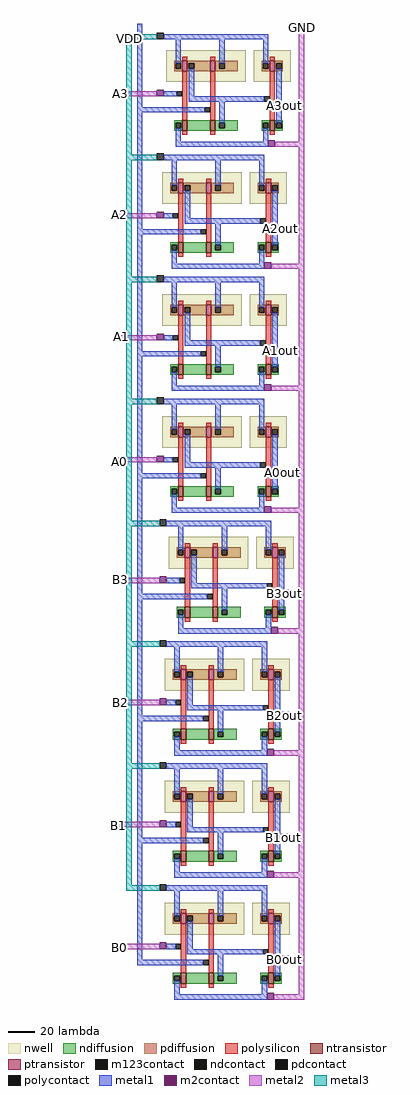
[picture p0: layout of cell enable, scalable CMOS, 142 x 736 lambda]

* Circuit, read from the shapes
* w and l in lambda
.subckt enable A0 A0out A1 A1out A2 A2out A3 A3out B0 B0out B1 B1out B2 B2out B3 B3out E GND VDD
M1 n1 A0 GND VSUBS nfet w=8 l=4
M2 n2 A1 GND VSUBS nfet w=8 l=4
M3 n3 A2 GND VSUBS nfet w=8 l=4
M4 n4 B0 GND VSUBS nfet w=8 l=4
M5 n5 B1 GND VSUBS nfet w=8 l=4
M6 n6 B2 GND VSUBS nfet w=8 l=4
M7 n7 A3 GND VSUBS nfet w=8 l=4
M8 n8 B3 GND VSUBS nfet w=8 l=4
M9 n9 E n1 VSUBS nfet w=8 l=4
M10 n10 E n2 VSUBS nfet w=8 l=4
M11 n11 E n3 VSUBS nfet w=8 l=4
M12 n12 E n4 VSUBS nfet w=8 l=4
M13 n13 E n5 VSUBS nfet w=8 l=4
M14 n14 E n6 VSUBS nfet w=8 l=4
M15 n15 E n7 VSUBS nfet w=8 l=4
M16 n16 E n8 VSUBS nfet w=8 l=4
M17 A0out n9 GND VSUBS nfet w=8 l=4
M18 A1out n10 GND VSUBS nfet w=8 l=4
M19 A2out n11 GND VSUBS nfet w=8 l=4
M20 B0out n12 GND VSUBS nfet w=8 l=4
M21 B1out n13 GND VSUBS nfet w=8 l=4
M22 B2out n14 GND VSUBS nfet w=8 l=4
M23 A3out n15 GND VSUBS nfet w=8 l=4
M24 B3out n16 GND VSUBS nfet w=8 l=4
M25 n9 A0 VDD n17 pfet w=8 l=4
M26 n10 A1 VDD n18 pfet w=8 l=4
M27 n11 A2 VDD n19 pfet w=8 l=4
M28 n12 B0 VDD n20 pfet w=8 l=4
M29 n13 B1 VDD n21 pfet w=8 l=4
M30 n14 B2 VDD n22 pfet w=8 l=4
M31 n15 A3 VDD n23 pfet w=8 l=4
M32 n16 B3 VDD n24 pfet w=8 l=4
M33 VDD E n9 n17 pfet w=8 l=4
M34 VDD E n10 n18 pfet w=8 l=4
M35 VDD E n11 n19 pfet w=8 l=4
M36 VDD E n12 n20 pfet w=8 l=4
M37 VDD E n13 n21 pfet w=8 l=4
M38 VDD E n14 n22 pfet w=8 l=4
M39 VDD E n15 n23 pfet w=8 l=4
M40 VDD E n16 n24 pfet w=8 l=4
M41 A0out n9 VDD n25 pfet w=8 l=4
M42 A1out n10 VDD n26 pfet w=8 l=4
M43 A2out n11 VDD n27 pfet w=8 l=4
M44 B0out n12 VDD n28 pfet w=8 l=4
M45 B1out n13 VDD n29 pfet w=8 l=4
M46 B2out n14 VDD n30 pfet w=8 l=4
M47 A3out n15 VDD n31 pfet w=8 l=4
M48 B3out n16 VDD n32 pfet w=8 l=4
.ends

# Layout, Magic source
magic
tech scmos
<< nwell >>
rect 148 782 208 806
rect 214 782 242 806
rect 145 690 205 714
rect 211 690 239 714
rect 145 598 205 622
rect 211 598 239 622
rect 145 506 205 530
rect 211 506 239 530
rect 150 415 210 439
rect 216 415 244 439
rect 147 323 207 347
rect 213 323 241 347
rect 147 231 207 255
rect 213 231 241 255
rect 147 139 207 163
rect 213 139 241 163
<< ntransistor >>
rect 160 745 164 753
rect 181 745 185 753
rect 226 745 230 753
rect 157 653 161 661
rect 178 653 182 661
rect 223 653 227 661
rect 157 561 161 569
rect 178 561 182 569
rect 223 561 227 569
rect 157 469 161 477
rect 178 469 182 477
rect 223 469 227 477
rect 162 378 166 386
rect 183 378 187 386
rect 228 378 232 386
rect 159 286 163 294
rect 180 286 184 294
rect 225 286 229 294
rect 159 194 163 202
rect 180 194 184 202
rect 225 194 229 202
rect 159 102 163 110
rect 180 102 184 110
rect 225 102 229 110
<< ptransistor >>
rect 160 790 164 798
rect 181 790 185 798
rect 226 790 230 798
rect 157 698 161 706
rect 178 698 182 706
rect 223 698 227 706
rect 157 606 161 614
rect 178 606 182 614
rect 223 606 227 614
rect 157 514 161 522
rect 178 514 182 522
rect 223 514 227 522
rect 162 423 166 431
rect 183 423 187 431
rect 228 423 232 431
rect 159 331 163 339
rect 180 331 184 339
rect 225 331 229 339
rect 159 239 163 247
rect 180 239 184 247
rect 225 239 229 247
rect 159 147 163 155
rect 180 147 184 155
rect 225 147 229 155
<< ndiffusion >>
rect 154 751 160 753
rect 154 747 155 751
rect 159 747 160 751
rect 154 745 160 747
rect 164 745 181 753
rect 185 751 202 753
rect 185 747 188 751
rect 192 747 202 751
rect 185 745 202 747
rect 220 751 226 753
rect 220 747 221 751
rect 225 747 226 751
rect 220 745 226 747
rect 230 751 236 753
rect 230 747 231 751
rect 235 747 236 751
rect 230 745 236 747
rect 151 659 157 661
rect 151 655 152 659
rect 156 655 157 659
rect 151 653 157 655
rect 161 653 178 661
rect 182 659 199 661
rect 182 655 185 659
rect 189 655 199 659
rect 182 653 199 655
rect 217 659 223 661
rect 217 655 218 659
rect 222 655 223 659
rect 217 653 223 655
rect 227 659 233 661
rect 227 655 228 659
rect 232 655 233 659
rect 227 653 233 655
rect 151 567 157 569
rect 151 563 152 567
rect 156 563 157 567
rect 151 561 157 563
rect 161 561 178 569
rect 182 567 199 569
rect 182 563 185 567
rect 189 563 199 567
rect 182 561 199 563
rect 217 567 223 569
rect 217 563 218 567
rect 222 563 223 567
rect 217 561 223 563
rect 227 567 233 569
rect 227 563 228 567
rect 232 563 233 567
rect 227 561 233 563
rect 151 475 157 477
rect 151 471 152 475
rect 156 471 157 475
rect 151 469 157 471
rect 161 469 178 477
rect 182 475 199 477
rect 182 471 185 475
rect 189 471 199 475
rect 182 469 199 471
rect 217 475 223 477
rect 217 471 218 475
rect 222 471 223 475
rect 217 469 223 471
rect 227 475 233 477
rect 227 471 228 475
rect 232 471 233 475
rect 227 469 233 471
rect 156 384 162 386
rect 156 380 157 384
rect 161 380 162 384
rect 156 378 162 380
rect 166 378 183 386
rect 187 384 204 386
rect 187 380 190 384
rect 194 380 204 384
rect 187 378 204 380
rect 222 384 228 386
rect 222 380 223 384
rect 227 380 228 384
rect 222 378 228 380
rect 232 384 238 386
rect 232 380 233 384
rect 237 380 238 384
rect 232 378 238 380
rect 153 292 159 294
rect 153 288 154 292
rect 158 288 159 292
rect 153 286 159 288
rect 163 286 180 294
rect 184 292 201 294
rect 184 288 187 292
rect 191 288 201 292
rect 184 286 201 288
rect 219 292 225 294
rect 219 288 220 292
rect 224 288 225 292
rect 219 286 225 288
rect 229 292 235 294
rect 229 288 230 292
rect 234 288 235 292
rect 229 286 235 288
rect 153 200 159 202
rect 153 196 154 200
rect 158 196 159 200
rect 153 194 159 196
rect 163 194 180 202
rect 184 200 201 202
rect 184 196 187 200
rect 191 196 201 200
rect 184 194 201 196
rect 219 200 225 202
rect 219 196 220 200
rect 224 196 225 200
rect 219 194 225 196
rect 229 200 235 202
rect 229 196 230 200
rect 234 196 235 200
rect 229 194 235 196
rect 153 108 159 110
rect 153 104 154 108
rect 158 104 159 108
rect 153 102 159 104
rect 163 102 180 110
rect 184 108 201 110
rect 184 104 187 108
rect 191 104 201 108
rect 184 102 201 104
rect 219 108 225 110
rect 219 104 220 108
rect 224 104 225 108
rect 219 102 225 104
rect 229 108 235 110
rect 229 104 230 108
rect 234 104 235 108
rect 229 102 235 104
<< pdiffusion >>
rect 154 796 160 798
rect 154 792 155 796
rect 159 792 160 796
rect 154 790 160 792
rect 164 796 181 798
rect 164 792 165 796
rect 169 792 181 796
rect 164 790 181 792
rect 185 796 202 798
rect 185 792 188 796
rect 192 792 202 796
rect 185 790 202 792
rect 220 796 226 798
rect 220 792 221 796
rect 225 792 226 796
rect 220 790 226 792
rect 230 796 236 798
rect 230 792 231 796
rect 235 792 236 796
rect 230 790 236 792
rect 151 704 157 706
rect 151 700 152 704
rect 156 700 157 704
rect 151 698 157 700
rect 161 704 178 706
rect 161 700 162 704
rect 166 700 178 704
rect 161 698 178 700
rect 182 704 199 706
rect 182 700 185 704
rect 189 700 199 704
rect 182 698 199 700
rect 217 704 223 706
rect 217 700 218 704
rect 222 700 223 704
rect 217 698 223 700
rect 227 704 233 706
rect 227 700 228 704
rect 232 700 233 704
rect 227 698 233 700
rect 151 612 157 614
rect 151 608 152 612
rect 156 608 157 612
rect 151 606 157 608
rect 161 612 178 614
rect 161 608 162 612
rect 166 608 178 612
rect 161 606 178 608
rect 182 612 199 614
rect 182 608 185 612
rect 189 608 199 612
rect 182 606 199 608
rect 217 612 223 614
rect 217 608 218 612
rect 222 608 223 612
rect 217 606 223 608
rect 227 612 233 614
rect 227 608 228 612
rect 232 608 233 612
rect 227 606 233 608
rect 151 520 157 522
rect 151 516 152 520
rect 156 516 157 520
rect 151 514 157 516
rect 161 520 178 522
rect 161 516 162 520
rect 166 516 178 520
rect 161 514 178 516
rect 182 520 199 522
rect 182 516 185 520
rect 189 516 199 520
rect 182 514 199 516
rect 217 520 223 522
rect 217 516 218 520
rect 222 516 223 520
rect 217 514 223 516
rect 227 520 233 522
rect 227 516 228 520
rect 232 516 233 520
rect 227 514 233 516
rect 156 429 162 431
rect 156 425 157 429
rect 161 425 162 429
rect 156 423 162 425
rect 166 429 183 431
rect 166 425 167 429
rect 171 425 183 429
rect 166 423 183 425
rect 187 429 204 431
rect 187 425 190 429
rect 194 425 204 429
rect 187 423 204 425
rect 222 429 228 431
rect 222 425 223 429
rect 227 425 228 429
rect 222 423 228 425
rect 232 429 238 431
rect 232 425 233 429
rect 237 425 238 429
rect 232 423 238 425
rect 153 337 159 339
rect 153 333 154 337
rect 158 333 159 337
rect 153 331 159 333
rect 163 337 180 339
rect 163 333 164 337
rect 168 333 180 337
rect 163 331 180 333
rect 184 337 201 339
rect 184 333 187 337
rect 191 333 201 337
rect 184 331 201 333
rect 219 337 225 339
rect 219 333 220 337
rect 224 333 225 337
rect 219 331 225 333
rect 229 337 235 339
rect 229 333 230 337
rect 234 333 235 337
rect 229 331 235 333
rect 153 245 159 247
rect 153 241 154 245
rect 158 241 159 245
rect 153 239 159 241
rect 163 245 180 247
rect 163 241 164 245
rect 168 241 180 245
rect 163 239 180 241
rect 184 245 201 247
rect 184 241 187 245
rect 191 241 201 245
rect 184 239 201 241
rect 219 245 225 247
rect 219 241 220 245
rect 224 241 225 245
rect 219 239 225 241
rect 229 245 235 247
rect 229 241 230 245
rect 234 241 235 245
rect 229 239 235 241
rect 153 153 159 155
rect 153 149 154 153
rect 158 149 159 153
rect 153 147 159 149
rect 163 153 180 155
rect 163 149 164 153
rect 168 149 180 153
rect 163 147 180 149
rect 184 153 201 155
rect 184 149 187 153
rect 191 149 201 153
rect 184 147 201 149
rect 219 153 225 155
rect 219 149 220 153
rect 224 149 225 153
rect 219 147 225 149
rect 229 153 235 155
rect 229 149 230 153
rect 234 149 235 153
rect 229 147 235 149
<< ndcontact >>
rect 155 747 159 751
rect 188 747 192 751
rect 221 747 225 751
rect 231 747 235 751
rect 152 655 156 659
rect 185 655 189 659
rect 218 655 222 659
rect 228 655 232 659
rect 152 563 156 567
rect 185 563 189 567
rect 218 563 222 567
rect 228 563 232 567
rect 152 471 156 475
rect 185 471 189 475
rect 218 471 222 475
rect 228 471 232 475
rect 157 380 161 384
rect 190 380 194 384
rect 223 380 227 384
rect 233 380 237 384
rect 154 288 158 292
rect 187 288 191 292
rect 220 288 224 292
rect 230 288 234 292
rect 154 196 158 200
rect 187 196 191 200
rect 220 196 224 200
rect 230 196 234 200
rect 154 104 158 108
rect 187 104 191 108
rect 220 104 224 108
rect 230 104 234 108
<< pdcontact >>
rect 155 792 159 796
rect 165 792 169 796
rect 188 792 192 796
rect 221 792 225 796
rect 231 792 235 796
rect 152 700 156 704
rect 162 700 166 704
rect 185 700 189 704
rect 218 700 222 704
rect 228 700 232 704
rect 152 608 156 612
rect 162 608 166 612
rect 185 608 189 612
rect 218 608 222 612
rect 228 608 232 612
rect 152 516 156 520
rect 162 516 166 520
rect 185 516 189 520
rect 218 516 222 520
rect 228 516 232 520
rect 157 425 161 429
rect 167 425 171 429
rect 190 425 194 429
rect 223 425 227 429
rect 233 425 237 429
rect 154 333 158 337
rect 164 333 168 337
rect 187 333 191 337
rect 220 333 224 337
rect 230 333 234 337
rect 154 241 158 245
rect 164 241 168 245
rect 187 241 191 245
rect 220 241 224 245
rect 230 241 234 245
rect 154 149 158 153
rect 164 149 168 153
rect 187 149 191 153
rect 220 149 224 153
rect 230 149 234 153
<< polysilicon >>
rect 160 798 164 801
rect 181 798 185 801
rect 226 798 230 801
rect 160 753 164 790
rect 181 753 185 790
rect 226 753 230 790
rect 160 742 164 745
rect 181 742 185 745
rect 226 742 230 745
rect 157 706 161 709
rect 178 706 182 709
rect 223 706 227 709
rect 157 661 161 698
rect 178 661 182 698
rect 223 661 227 698
rect 157 650 161 653
rect 178 650 182 653
rect 223 650 227 653
rect 157 614 161 617
rect 178 614 182 617
rect 223 614 227 617
rect 157 569 161 606
rect 178 569 182 606
rect 223 569 227 606
rect 157 558 161 561
rect 178 558 182 561
rect 223 558 227 561
rect 157 522 161 525
rect 178 522 182 525
rect 223 522 227 525
rect 157 477 161 514
rect 178 477 182 514
rect 223 477 227 514
rect 157 466 161 469
rect 178 466 182 469
rect 223 466 227 469
rect 162 431 166 434
rect 183 431 187 434
rect 228 431 232 434
rect 162 386 166 423
rect 183 386 187 423
rect 228 386 232 423
rect 162 375 166 378
rect 183 375 187 378
rect 228 375 232 378
rect 159 339 163 342
rect 180 339 184 342
rect 225 339 229 342
rect 159 294 163 331
rect 180 294 184 331
rect 225 294 229 331
rect 159 283 163 286
rect 180 283 184 286
rect 225 283 229 286
rect 159 247 163 250
rect 180 247 184 250
rect 225 247 229 250
rect 159 202 163 239
rect 180 202 184 239
rect 225 202 229 239
rect 159 191 163 194
rect 180 191 184 194
rect 225 191 229 194
rect 159 155 163 158
rect 180 155 184 158
rect 225 155 229 158
rect 159 110 163 147
rect 180 110 184 147
rect 225 110 229 147
rect 159 99 163 102
rect 180 99 184 102
rect 225 99 229 102
<< polycontact >>
rect 156 771 160 775
rect 177 759 181 763
rect 222 767 226 771
rect 153 679 157 683
rect 174 667 178 671
rect 219 675 223 679
rect 153 587 157 591
rect 174 575 178 579
rect 219 583 223 587
rect 153 495 157 499
rect 174 483 178 487
rect 219 491 223 495
rect 158 404 162 408
rect 179 392 183 396
rect 224 400 228 404
rect 155 312 159 316
rect 176 300 180 304
rect 221 308 225 312
rect 155 220 159 224
rect 176 208 180 212
rect 221 216 225 220
rect 155 128 159 132
rect 176 116 180 120
rect 221 124 225 128
<< metal1 >>
rect 126 763 130 826
rect 146 814 225 818
rect 155 796 159 814
rect 188 796 192 814
rect 221 796 225 814
rect 146 771 156 775
rect 165 771 169 792
rect 165 767 222 771
rect 126 759 177 763
rect 126 671 130 759
rect 188 751 192 767
rect 231 766 235 792
rect 231 762 242 766
rect 231 751 235 762
rect 155 737 159 747
rect 221 737 225 747
rect 155 733 225 737
rect 146 723 222 727
rect 152 704 156 723
rect 185 704 189 723
rect 218 704 222 723
rect 146 679 153 683
rect 162 679 166 700
rect 162 675 219 679
rect 126 667 174 671
rect 126 579 130 667
rect 185 659 189 675
rect 228 674 232 700
rect 228 670 239 674
rect 228 659 232 670
rect 152 645 156 655
rect 218 645 222 655
rect 152 641 222 645
rect 146 631 222 635
rect 152 612 156 631
rect 185 612 189 631
rect 218 612 222 631
rect 146 587 153 591
rect 162 587 166 608
rect 162 583 219 587
rect 126 575 174 579
rect 126 487 130 575
rect 185 567 189 583
rect 228 582 232 608
rect 228 578 239 582
rect 228 567 232 578
rect 152 553 156 563
rect 218 553 222 563
rect 152 549 222 553
rect 146 539 222 543
rect 152 520 156 539
rect 185 520 189 539
rect 218 520 222 539
rect 146 495 153 499
rect 162 495 166 516
rect 162 491 219 495
rect 126 483 174 487
rect 126 396 130 483
rect 185 475 189 491
rect 228 490 232 516
rect 228 486 239 490
rect 228 475 232 486
rect 152 461 156 471
rect 218 461 222 471
rect 152 457 222 461
rect 148 447 227 451
rect 157 429 161 447
rect 190 429 194 447
rect 223 429 227 447
rect 148 404 158 408
rect 167 404 171 425
rect 167 400 224 404
rect 126 392 179 396
rect 126 304 130 392
rect 190 384 194 400
rect 233 399 237 425
rect 233 395 241 399
rect 233 384 237 395
rect 157 370 161 380
rect 223 370 227 380
rect 157 366 227 370
rect 148 356 224 360
rect 154 337 158 356
rect 187 337 191 356
rect 220 337 224 356
rect 148 312 155 316
rect 164 312 168 333
rect 164 308 221 312
rect 126 300 176 304
rect 126 212 130 300
rect 187 292 191 308
rect 230 307 234 333
rect 230 303 241 307
rect 230 292 234 303
rect 154 278 158 288
rect 220 278 224 288
rect 154 274 224 278
rect 148 264 224 268
rect 154 245 158 264
rect 187 245 191 264
rect 220 245 224 264
rect 148 220 155 224
rect 164 220 168 241
rect 164 216 221 220
rect 126 208 176 212
rect 126 120 130 208
rect 187 200 191 216
rect 230 215 234 241
rect 230 211 241 215
rect 230 200 234 211
rect 154 186 158 196
rect 220 186 224 196
rect 154 182 224 186
rect 148 172 224 176
rect 154 153 158 172
rect 187 153 191 172
rect 220 153 224 172
rect 148 128 155 132
rect 164 128 168 149
rect 164 124 221 128
rect 126 116 176 120
rect 187 108 191 124
rect 230 123 234 149
rect 230 119 241 123
rect 230 108 234 119
rect 154 94 158 104
rect 220 94 224 104
rect 154 90 224 94
<< m2contact >>
rect 141 771 146 776
rect 225 733 230 738
rect 141 679 146 684
rect 222 641 227 646
rect 141 587 146 592
rect 222 549 227 554
rect 141 495 146 500
rect 222 457 227 462
rect 143 404 148 409
rect 227 366 232 371
rect 143 312 148 317
rect 224 274 229 279
rect 143 220 148 225
rect 224 182 229 187
rect 143 128 148 133
rect 224 90 229 95
<< metal2 >>
rect 110 771 141 775
rect 248 737 252 826
rect 230 733 252 737
rect 110 679 141 683
rect 248 645 252 733
rect 227 641 252 645
rect 110 587 141 591
rect 248 553 252 641
rect 227 549 252 553
rect 110 495 141 499
rect 248 461 252 549
rect 227 457 252 461
rect 110 404 143 408
rect 248 370 252 457
rect 232 366 252 370
rect 110 312 143 316
rect 248 278 252 366
rect 229 274 252 278
rect 110 220 143 224
rect 248 186 252 274
rect 229 182 252 186
rect 110 128 143 132
rect 248 94 252 182
rect 229 90 252 94
<< m123contact >>
rect 141 814 146 819
rect 141 723 146 728
rect 141 631 146 636
rect 141 539 146 544
rect 143 447 148 452
rect 143 356 148 361
rect 143 264 148 269
rect 143 172 148 177
<< metal3 >>
rect 118 814 141 818
rect 118 727 122 814
rect 118 723 141 727
rect 118 635 122 723
rect 118 631 141 635
rect 118 543 122 631
rect 118 539 141 543
rect 118 451 122 539
rect 118 447 143 451
rect 118 360 122 447
rect 118 356 143 360
rect 118 268 122 356
rect 118 264 143 268
rect 118 176 122 264
rect 118 172 143 176
<< labels >>
rlabel metal2 112 772 115 774 3 A3
rlabel metal3 119 814 122 816 5 VDD
rlabel metal1 236 764 239 765 1 A3out
rlabel metal2 111 681 114 683 3 A2
rlabel metal1 233 671 236 672 1 A2out
rlabel metal2 113 589 116 591 3 A1
rlabel metal1 233 579 236 580 1 A1out
rlabel metal2 111 495 114 497 3 A0
rlabel metal1 234 487 237 488 1 A0out
rlabel metal2 112 406 115 408 3 B3
rlabel metal1 236 304 239 305 1 B2out
rlabel metal2 112 313 115 315 3 B2
rlabel metal2 111 221 113 222 3 B1
rlabel metal1 235 212 238 213 1 B1out
rlabel metal2 111 129 114 130 3 B0
rlabel metal1 236 120 239 121 1 B0out
rlabel metal1 236 396 239 397 1 B3out
rlabel metal2 250 822 252 824 6 GND
rlabel metal1 126 822 128 823 5 E
<< end >>
